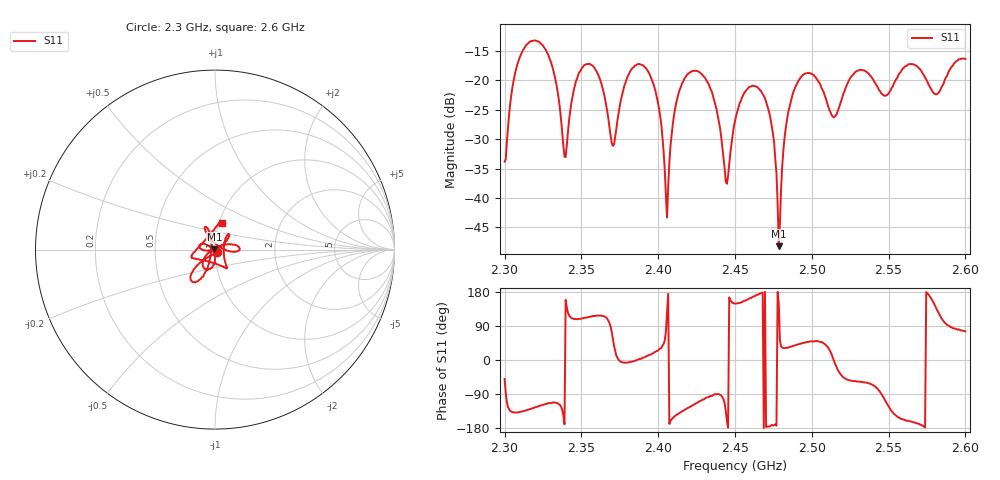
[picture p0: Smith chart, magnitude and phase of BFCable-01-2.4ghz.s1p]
! NanoVNA-App
! Date: 2026-05-22 19:13:49
! Start: 2.3GHz Stop: 2.6GHz Points: 401
! S-Parameter data: F S11
# Hz S RI R 50
!  Frequency  S11_Real  S11_Imag
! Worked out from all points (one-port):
!   401 points, 2.3 GHz to 2.6 GHz, reference 50 ohm
!   lowest |S11| = -48.2 dB at 2.478 GHz (marker M1), VSWR 1.01, Z = 49.7 + j0.197 ohm
!   |S11| at or under -10 dB: start of sweep to end of sweep
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2.3e9  0.0131 -0.0156
2.30675e9  -0.0863 -0.0753
2.31725e9  -0.1351 -0.1692
2.33e9  -0.0583 -0.1333
2.3375e9  -0.0238 -0.0271
2.33975e9  -0.0207 0.00813
2.34575e9  -0.0279 0.0862
2.35325e9  -0.0518 0.1276
2.3705e9  0.0153 0.0231
2.375e9  0.0608 -0.00299
2.393e9  0.1194 0.0234
2.4005e9  0.0515 0.0267
2.40575e9  -0.00392 0.00557
2.4125e9  -0.0567 -0.0425
2.43125e9  -0.016 -0.0995
2.44475e9  -0.0125 -0.00429
2.45e9  -0.0387 0.0232
2.468e9  -0.0765 0.0025
2.474e9  -0.0397 -0.00616
2.4785e9  -0.00333 0.00199
2.4875e9  0.0608 0.0451
2.4995e9  0.0748 0.0865
2.5145e9  0.0487 -0.0014
2.525e9  0.0621 -0.084
2.54825e9  -0.026 -0.0695
2.5625e9  -0.1282 -0.047
2.58125e9  -0.0534 0.0544
2.6e9  0.0381 0.1479
